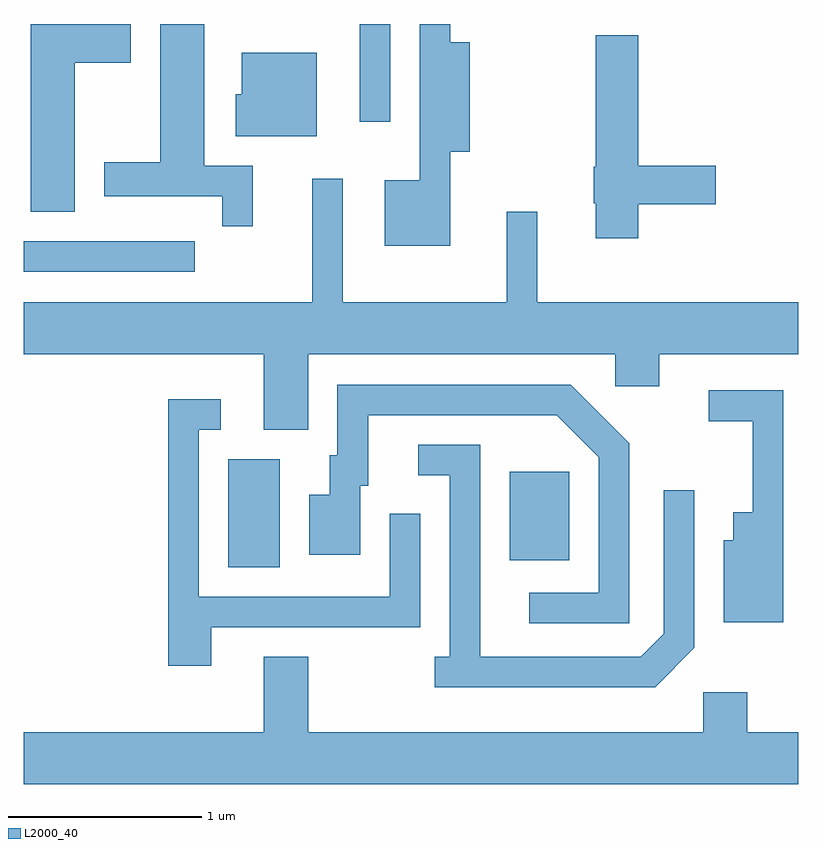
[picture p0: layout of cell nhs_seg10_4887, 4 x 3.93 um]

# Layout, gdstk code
import gdstk
lib = gdstk.Library(unit=1e-6, precision=1e-09)
def R(c, l, rs):  # rectangles x0, y0, x1, y1
    for r in rs: c.add(gdstk.rectangle(r[:2], r[2:], *l))
def P(c, l, *ps):  # polygons
    for p in ps: c.add(gdstk.Polygon(p, *l))
L2000_40 = (2000, 40)

nhs_seg10_4887 = lib.new_cell('nhs_seg10_4887')
R(nhs_seg10_4887, L2000_40, [(330.666,2101.716,330.934,2102.274), (332.121,2101.751,332.429,2102.209), (329.611,2103.241,330.493,2103.399), (331.346,2104.018,331.504,2104.522)])
P(nhs_seg10_4887, L2000_40, [(329.874,2104.321),(330.164,2104.321),(330.164,2104.522),(329.646,2104.522),(329.646,2103.551),(329.874,2103.551)],
  [(330.794,2103.789),(330.544,2103.789),(330.544,2104.522),(330.316,2104.522),(330.316,2103.809),(330.026,2103.809),(330.026,2103.631),(330.636,2103.631),(330.636,2103.478),(330.794,2103.478)],
  [(331.814,2103.861),(331.914,2103.861),(331.914,2104.429),(331.814,2104.429),(331.814,2104.522),(331.656,2104.522),(331.656,2103.714),(331.476,2103.714),(331.476,2103.376),(331.814,2103.376)],
  [(332.784,2103.591),(333.184,2103.591),(333.184,2103.789),(332.784,2103.789),(332.784,2104.464),(332.566,2104.464),(332.566,2103.785),(332.556,2103.785),(332.556,2103.595),(332.566,2103.595),(332.566,2103.416),(332.784,2103.416)],
  [(331.124,2104.374),(330.736,2104.374),(330.736,2104.159),(330.706,2104.159),(330.706,2103.941),(331.124,2103.941)],
  [(331.079,2102.816),(332.666,2102.816),(332.666,2102.651),(332.894,2102.651),(332.894,2102.816),(333.611,2102.816),(333.611,2103.084),(332.264,2103.084),(332.264,2103.553),(332.106,2103.553),(332.106,2103.084),(331.259,2103.084),(331.259,2103.723),(331.101,2103.723),(331.101,2103.084),(329.611,2103.084),(329.611,2102.816),(330.851,2102.816),(330.851,2102.426),(331.079,2102.426)],
  [(332.739,2102.357),(332.437,2102.659),(331.231,2102.659),(331.231,2102.294),(331.191,2102.294),(331.191,2102.089),(331.086,2102.089),(331.086,2101.781),(331.349,2101.781),(331.349,2102.136),(331.389,2102.136),(331.389,2102.501),(332.364,2102.501),(332.581,2102.284),(332.581,2101.584),(332.223,2101.584),(332.223,2101.426),(332.739,2101.426)],
  [(333.534,2102.629),(333.148,2102.629),(333.148,2102.471),(333.376,2102.471),(333.376,2101.999),(333.276,2101.999),(333.276,2101.854),(333.226,2101.854),(333.226,2101.431),(333.534,2101.431)],
  [(330.579,2101.406),(331.659,2101.406),(331.659,2101.993),(331.501,2101.993),(331.501,2101.564),(330.514,2101.564),(330.514,2102.426),(330.628,2102.426),(330.628,2102.584),(330.356,2102.584),(330.356,2101.206),(330.579,2101.206)],
  [(333.074,2101.299),(333.074,2102.113),(332.916,2102.113),(332.916,2101.372),(332.799,2101.254),(331.969,2101.254),(331.969,2102.349),(331.648,2102.349),(331.648,2102.191),(331.811,2102.191),(331.811,2101.254),(331.733,2101.254),(331.733,2101.096),(332.872,2101.096)],
  [(333.611,2100.864),(333.349,2100.864),(333.349,2101.069),(333.121,2101.069),(333.121,2100.864),(331.079,2100.864),(331.079,2101.254),(330.851,2101.254),(330.851,2100.864),(329.611,2100.864),(329.611,2100.596),(333.611,2100.596)])

lib.write_gds('nhs_seg10_4887.gds')
